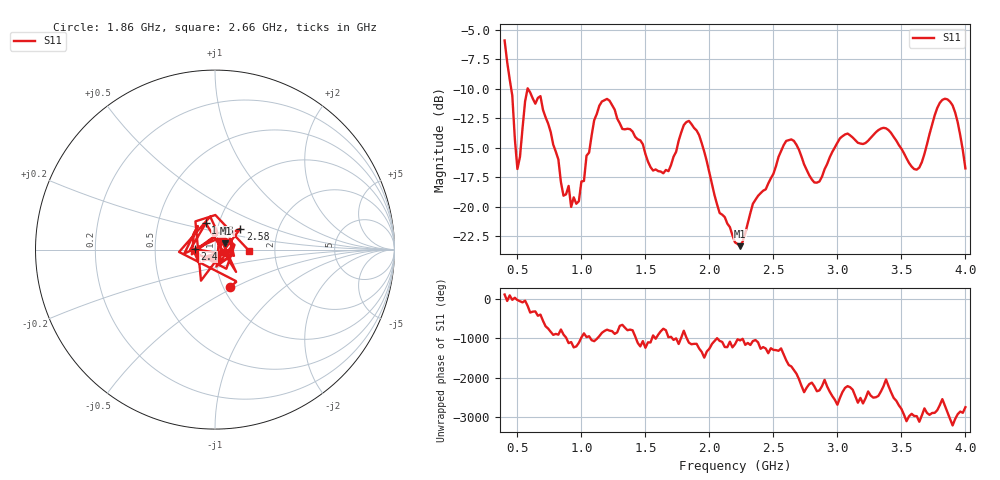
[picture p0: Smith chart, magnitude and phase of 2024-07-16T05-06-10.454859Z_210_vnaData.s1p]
!Created with skrf (http://scikit-rf.org).
# Hz S RI R 50.0
!freq ReS11 ImS11
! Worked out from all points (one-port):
!   181 points, 400 MHz to 4 GHz, reference 50 ohm
!   lowest |S11| = -23.3 dB at 2.24 GHz (marker M1), VSWR 1.15, Z = 56 + j3.97 ohm
!   |S11| at or under -10 dB: 451.3 MHz to 579.6 MHz (128.2 MHz wide, 24.9 % of centre); 581.4 MHz to end of sweep
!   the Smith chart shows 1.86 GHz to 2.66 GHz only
!   S11 on the Smith chart (normalised r, x): 1.86 GHz: 1.08, -0.47; 1.98 GHz: 0.87, +0.26; 2.4 GHz: 0.80, +0.01; 2.58 GHz: 1.29, +0.31; 2.66 GHz: 1.47, -0.02
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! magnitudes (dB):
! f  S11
! 400 MHz  -5.9
! 460 MHz  -10.6
! 500 MHz  -16.8
! 580 MHz  -10.0
! 680 MHz  -10.6
! 860 MHz  -19.1
! 980 MHz  -19.5
! 1.16 GHz  -11.1
! 1.3 GHz  -12.9
! 1.56 GHz  -16.9
! 1.68 GHz  -17.0
! 1.76 GHz  -14.4
! 1.86 GHz  -13.0
! 1.98 GHz  -16.2
! 2.08 GHz  -20.5
! 2.2 GHz  -23.0
! 2.24 GHz  -23.3
! 2.4 GHz  -18.9
! 2.58 GHz  -14.8
! 2.66 GHz  -14.4
! 2.84 GHz  -18.0
! 3.1 GHz  -14.0
! 3.38 GHz  -13.4
! 3.56 GHz  -16.3
! 3.64 GHz  -16.7
! 3.84 GHz  -10.9
! 3.92 GHz  -12.0
! 4 GHz  -16.8
